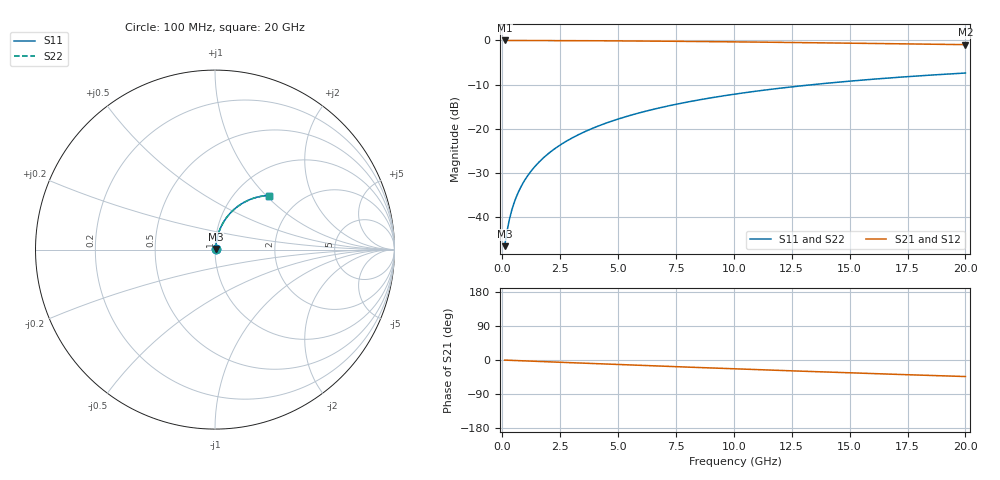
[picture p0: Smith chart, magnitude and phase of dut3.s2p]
! Touchstone file exported from HFSS 2026.1.0
!  File:  C:/ffzhzh/LocalFiles/Ansys_Project_Files/temp_val_TMRDL_3_1782902533_46784.aedt
!  Generated:  06:43:59 PM Jul  1, 2026
!  Design:  TMRDL
!  Project:  temp_val_TMRDL_3_1782902533_46784
! Variables:
!  h_bsmrdl = 2um
!  h_ox = 20um
!  h_rdl = 5um
!  h_sub = 80um
!  h_tmrdl = 2.94um
!  h_tsv = 80um
!  h_via = 3um
!  l_bsmrdl = 300um
!  l_sub = 1013.16um
!  l_tmrdl = 613.16um
!  m_sub = 200um
!  pitch = 50.92um
!  r_tsv = 6um
!  s_tmrdl = 10um
!  w_bsmrdl = 18um
!  w_sub = 500um
!  w_tmrdl = 20.83um
!  x_tsv_center1 = 623.575um
!  x_tsv_center2 = 941.575um
!  x_tsv_center3 = 1575.565um
!  x_tsv_center4 = 1893.565um
!  x_tsv_center5 = 2527.555um
!  x_tsv_center6 = 2845.555um
# GHz S MA R 50.000000
! Terminal data exported
! Port[1] = TM_RDL1_1_T1
! Port[2] = TM_RDL1_1_T2
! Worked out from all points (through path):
!   200 points, 100 MHz to 20 GHz, reference 50 ohm
!   highest |S21| = -0.03 dB at 100 MHz (marker M1); lowest = -1.0 dB at 20 GHz (marker M2)
!   group delay of S21, straight-line fit = 6.08 ps
!   lowest |S11| = -46.5 dB at 100 MHz (marker M3), VSWR 1.01, Z = 50.4 + j0.285 ohm
!   |S11| at or under -10 dB: start of sweep to 13.44 GHz
!   |S22| runs from -46.5 to -7.4 dB; largest |S21 - S12| = 2.6e-15
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0.1  0.00471 36.9  0.9962 -0.3  0.9962 -0.3  0.00471 36.9
! Gamma 0 0 0 0
! Port Impedance 50 0 50 0
0.2  0.006841 55.0  0.9961 -0.5  0.9961 -0.5  0.006841 55.0
0.3  0.009282 63.6  0.9959 -0.7  0.9959 -0.7  0.009282 63.6
0.4  0.01179 68.3  0.9958 -1.0  0.9958 -1.0  0.01179 68.3
0.5  0.01432 71.3  0.9956 -1.2  0.9956 -1.2  0.01432 71.3
0.6  0.01685 73.4  0.9955 -1.5  0.9955 -1.5  0.01685 73.4
0.8  0.02192 76.0  0.9952 -1.9  0.9952 -1.9  0.02192 76.0
1.1  0.02957 78.2  0.9949 -2.7  0.9949 -2.7  0.02957 78.1
1.3  0.03469 78.9  0.9946 -3.1  0.9946 -3.1  0.03469 78.9
1.6  0.0424 79.5  0.9942 -3.8  0.9942 -3.8  0.0424 79.5
2.1  0.05526 79.7  0.9935 -5.0  0.9935 -5.0  0.05526 79.7
2.7  0.07068 79.3  0.9923 -6.5  0.9923 -6.5  0.07068 79.3
3.5  0.0911 78.2  0.9904 -8.3  0.9904 -8.3  0.0911 78.2
4.2  0.1088 77.0  0.9883 -10.0  0.9883 -10.0  0.1088 77.0
5  0.1288 75.4  0.9856 -11.9  0.9856 -11.9  0.1288 75.4
5.9  0.1509 73.6  0.9821 -14.0  0.9821 -14.0  0.1509 73.6
6.8  0.1726 71.7  0.9781 -16.0  0.9781 -16.0  0.1726 71.7
8.3  0.2076 68.5  0.9706 -19.4  0.9706 -19.4  0.2076 68.5
10.1  0.2477 64.6  0.9604 -23.4  0.9604 -23.4  0.2477 64.6
13.4  0.3154 57.8  0.9392 -30.5  0.9392 -30.5  0.3154 57.7
16.7  0.3751 51.2  0.9164 -37.2  0.9164 -37.2  0.3751 51.1
20  0.4268 44.9  0.8933 -43.7  0.8933 -43.7  0.4268 44.9
